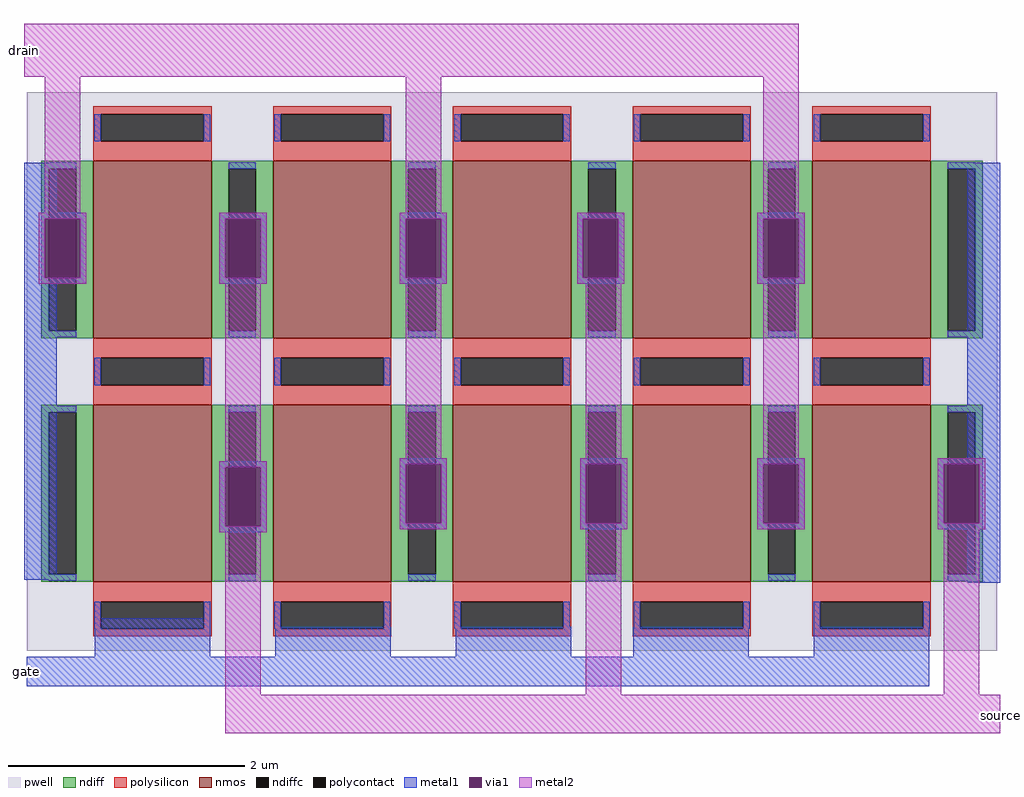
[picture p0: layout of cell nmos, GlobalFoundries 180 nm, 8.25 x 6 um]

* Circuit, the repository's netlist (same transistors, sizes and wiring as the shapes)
* Extracted by KLayout with GF180MCU LVS runset on : 07/09/2025 03:19

.SUBCKT nmos
M$1 \$1 \$3 \$2 gf180mcu_gnd nfet_03v3 L=1U W=3U AS=1.83P AD=0.78P PS=7.22U
+ PD=3.52U
M$2 \$2 \$3 \$1 gf180mcu_gnd nfet_03v3 L=1U W=3U AS=0.78P AD=0.78P PS=3.52U
+ PD=3.52U
M$3 \$1 \$3 \$2 gf180mcu_gnd nfet_03v3 L=1U W=3U AS=0.78P AD=0.78P PS=3.52U
+ PD=3.52U
M$4 \$2 \$3 \$1 gf180mcu_gnd nfet_03v3 L=1U W=3U AS=0.78P AD=0.78P PS=3.52U
+ PD=3.52U
M$5 \$1 \$3 \$2 gf180mcu_gnd nfet_03v3 L=1U W=3U AS=0.78P AD=1.83P PS=3.52U
+ PD=7.22U
.ENDS nmos

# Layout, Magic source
magic
tech gf180mcuD
magscale 1 10
<< metal1 >>
rect -5 740 50 825
rect -5 730 100 740
rect -5 630 30 730
rect 90 630 100 730
rect -5 620 100 630
rect 325 730 405 740
rect 325 630 335 730
rect 395 630 405 730
rect 325 620 405 630
rect 630 730 710 740
rect 630 630 640 730
rect 700 630 710 730
rect 630 620 710 630
rect 930 730 1010 740
rect 930 630 940 730
rect 1000 630 1010 730
rect 930 620 1010 630
rect 1235 730 1315 740
rect 1235 630 1245 730
rect 1305 630 1315 730
rect 1235 620 1315 630
rect -5 120 50 620
rect 1590 325 1645 825
rect 325 310 405 320
rect 325 210 335 310
rect 395 210 405 310
rect 325 200 405 210
rect 630 315 710 325
rect 630 215 640 315
rect 700 215 710 315
rect 630 205 710 215
rect 935 315 1015 325
rect 935 215 945 315
rect 1005 215 1015 315
rect 935 205 1015 215
rect 1235 315 1315 325
rect 1235 215 1245 315
rect 1305 215 1315 315
rect 1235 205 1315 215
rect 1540 315 1645 325
rect 1540 215 1550 315
rect 1610 215 1645 315
rect 1540 205 1645 215
rect 1590 115 1645 205
rect 115 -10 310 55
rect 420 -10 615 40
rect 725 -10 920 40
rect 1025 -10 1220 40
rect 1330 -10 1525 40
rect 0 -60 1525 -10
<< via1 >>
rect 30 630 90 730
rect 335 630 395 730
rect 640 630 700 730
rect 940 630 1000 730
rect 1245 630 1305 730
rect 335 210 395 310
rect 640 215 700 315
rect 945 215 1005 315
rect 1245 215 1305 315
rect 1550 215 1610 315
<< metal2 >>
rect -5 970 1305 1060
rect 30 740 90 970
rect 640 740 700 970
rect 1245 740 1305 970
rect 20 730 100 740
rect 20 630 30 730
rect 90 630 100 730
rect 20 620 100 630
rect 325 730 405 740
rect 325 630 335 730
rect 395 630 405 730
rect 325 620 405 630
rect 630 730 710 740
rect 630 630 640 730
rect 700 630 710 730
rect 630 620 710 630
rect 930 730 1010 740
rect 930 630 940 730
rect 1000 630 1010 730
rect 930 620 1010 630
rect 1235 730 1315 740
rect 1235 630 1245 730
rect 1305 630 1315 730
rect 1235 620 1315 630
rect 335 320 395 620
rect 640 325 700 620
rect 945 325 1005 620
rect 1245 325 1305 620
rect 325 310 405 320
rect 325 210 335 310
rect 395 210 405 310
rect 325 200 405 210
rect 630 315 710 325
rect 630 215 640 315
rect 700 215 710 315
rect 630 205 710 215
rect 935 315 1015 325
rect 935 215 945 315
rect 1005 215 1015 315
rect 935 205 1015 215
rect 1235 315 1315 325
rect 1235 215 1245 315
rect 1305 215 1315 315
rect 1235 205 1315 215
rect 1540 315 1620 325
rect 1540 215 1550 315
rect 1610 215 1620 315
rect 1540 205 1620 215
rect 335 -75 395 200
rect 945 -75 1005 205
rect 1550 -75 1610 205
rect 335 -140 1645 -75
use nfet_03v3_39C88F  nfet_03v3_39C88F_0
transform 1 0 820 0 1 266
box -820 -266 820 266
use nfet_03v3_39C88F  nfet_03v3_39C88F_1
transform 1 0 820 0 1 678
box -820 -266 820 266
<< labels >>
rlabel metal2 -5 1015 -5 1015 7 drain
port 1 w
rlabel metal2 1645 -110 1645 -110 3 source
port 2 e
rlabel metal1 0 -35 0 -35 7 gate
port 3 w
<< end >>

# cell nfet_03v3_39C88F: kit device nfet_03v3, w 1.5 l 1 m 1 nf 5 diffcov 100 polycov 100 guard 0 glc 1 grc 1 gtc 0 gbc 0 tbcov 100 rlcov 100 topc 1 botc 1 poverlap 0 doverlap 1 lmin 0.28 wmin 0.22 class mosfet full_metal 0 compatible {nfet_03v3 nfet_06v0 nfet_06v0_nvt}
